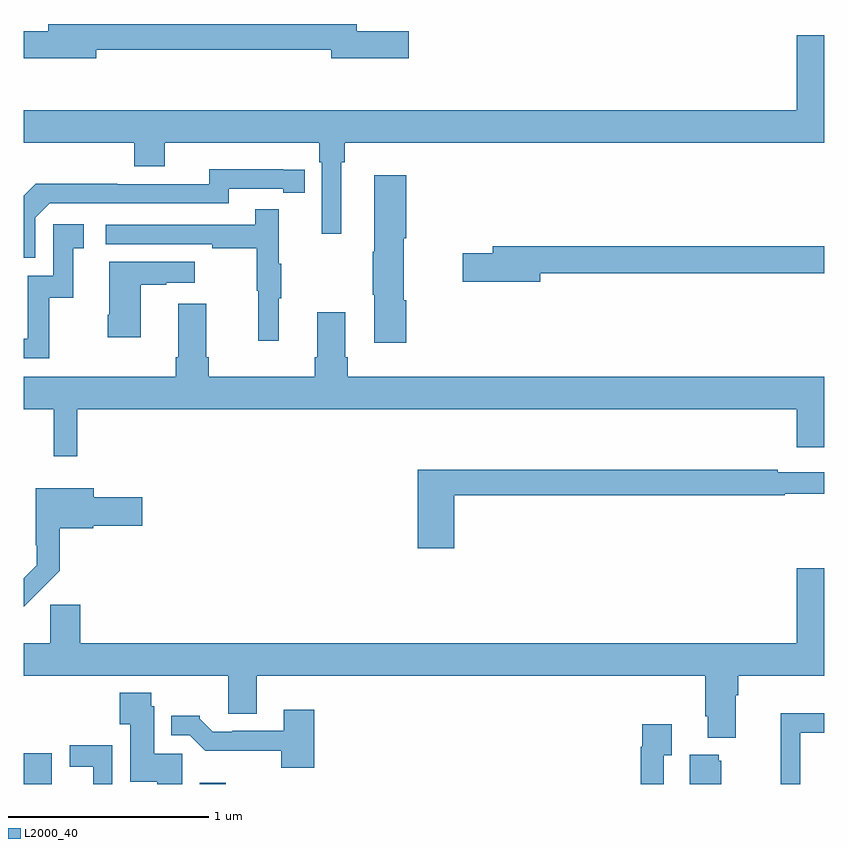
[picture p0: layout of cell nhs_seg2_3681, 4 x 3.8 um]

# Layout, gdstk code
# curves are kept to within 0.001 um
import gdstk
lib = gdstk.Library(unit=1e-6, precision=1e-09)
def R(c, l, rs):  # rectangles x0, y0, x1, y1
    for r in rs: c.add(gdstk.rectangle(r[:2], r[2:], *l))
def P(c, l, *ps):  # polygons
    for p in ps: c.add(gdstk.Polygon(p, *l))
L2000_40 = (2000, 40)

nhs_seg2_3681 = lib.new_cell('nhs_seg2_3681')
R(nhs_seg2_3681, L2000_40, [(305,609.8,305.14,609.953), (305.879,609.8,306.01,609.805)])
P(nhs_seg2_3681, L2000_40, [(305.362,613.47),(306.536,613.47),(306.536,613.427),(306.925,613.427),(306.925,613.562),(306.664,613.562),(306.664,613.598),(305.123,613.598),(305.123,613.562),(305,613.562),(305,613.427),(305.362,613.427)],
  [(306.586,612.908),(306.605,612.908),(306.605,613.004),(309,613.004),(309,613.543),(308.864,613.543),(308.864,613.168),(305,613.168),(305,613.004),(305.552,613.004),(305.552,612.887),(305.704,612.887),(305.704,613.004),(306.476,613.004),(306.476,612.908),(306.489,612.908),(306.489,612.549),(306.586,612.549)],
  [(305.058,612.63),(305.13,612.702),(306.024,612.702),(306.024,612.774),(306.296,612.774),(306.296,612.754),(306.404,612.754),(306.404,612.87),(305.928,612.871),(305.928,612.798),(305.468,612.798),(305.468,612.8),(305.06,612.8),(305,612.74),(305,612.429),(305.058,612.429)],
  [(306.911,612.218),(306.898,612.218),(306.898,612.528),(306.911,612.528),(306.911,612.841),(306.752,612.841),(306.752,612.461),(306.745,612.461),(306.745,612.244),(306.752,612.244),(306.752,612.006),(306.911,612.006)],
  [(306.275,612.227),(306.286,612.227),(306.286,612.401),(306.275,612.401),(306.275,612.673),(306.157,612.673),(306.157,612.594),(305.409,612.594),(305.409,612.498),(305.941,612.498),(305.941,612.478),(306.165,612.478),(306.165,612.264),(306.172,612.264),(306.172,612.015),(306.275,612.015)],
  [(305.128,612.231),(305.246,612.231),(305.246,612.477),(305.299,612.477),(305.299,612.598),(305.148,612.598),(305.148,612.339),(305.019,612.339),(305.019,612.024),(305,612.024),(305,611.928),(305.128,611.928)],
  [(307.582,612.352),(309,612.352),(309,612.488),(307.343,612.488),(307.343,612.452),(307.194,612.452),(307.194,612.31),(307.582,612.31)],
  [(305.584,612.295),(305.711,612.295),(305.711,612.305),(305.854,612.305),(305.854,612.409),(305.426,612.409),(305.426,612.145),(305.419,612.145),(305.419,612.033),(305.584,612.033)],
  [(305.267,611.672),(308.864,611.672),(308.864,611.484),(309,611.484),(309,611.836),(306.62,611.836),(306.62,611.932),(306.607,611.932),(306.607,612.157),(306.467,612.157),(306.467,611.932),(306.455,611.932),(306.455,611.836),(305.924,611.836),(305.924,611.932),(305.911,611.932),(305.911,612.199),(305.771,612.199),(305.771,611.932),(305.759,611.932),(305.759,611.836),(305,611.836),(305,611.672),(305.15,611.672),(305.15,611.439),(305.267,611.439)],
  [(307.151,611.242),(308.804,611.242),(308.804,611.25),(309,611.25),(309,611.358),(308.768,611.358),(308.768,611.371),(306.968,611.371),(306.968,610.977),(307.151,610.977)],
  [(305.18,610.865),(305.18,611.077),(305.346,611.077),(305.346,611.09),(305.593,611.09),(305.593,611.232),(305.35,611.232),(305.35,611.278),(305.061,611.278),(305.061,610.993),(305.064,610.993),(305.064,610.893),(305,610.829),(305,610.686)],
  [(308.557,610.244),(308.57,610.244),(308.57,610.34),(309,610.34),(309,610.879),(308.864,610.879),(308.864,610.504),(305.282,610.504),(305.282,610.695),(305.131,610.695),(305.131,610.504),(305,610.504),(305,610.34),(306.023,610.34),(306.023,610.15),(306.163,610.15),(306.163,610.34),(308.405,610.34),(308.405,610.138),(308.417,610.138),(308.417,610.031),(308.557,610.031)],
  [(305.791,609.951),(305.653,609.951),(305.653,610.188),(305.637,610.188),(305.637,610.255),(305.48,610.255),(305.48,610.099),(305.531,610.099),(305.531,609.812),(305.666,609.812),(305.666,609.8),(305.791,609.8)],
  [(306.452,610.171),(306.299,610.171),(306.299,610.065),(306.043,610.065),(306.043,610.062),(305.944,610.062),(305.88,610.126),(305.88,610.141),(305.738,610.141),(305.738,610.044),(305.829,610.044),(305.908,609.966),(306.287,609.966),(306.287,609.881),(306.452,609.881)],
  [(308.88,610.056),(309,610.056),(309,610.154),(308.782,610.154),(308.782,609.847),(308.784,609.847),(308.784,609.8),(308.88,609.8)],
  [(308.199,609.943),(308.239,609.943),(308.239,610.099),(308.091,610.099),(308.091,609.986),(308.083,609.986),(308.083,609.8),(308.199,609.8)],
  [(305.442,609.994),(305.229,609.994),(305.229,609.885),(305.346,609.885),(305.346,609.8),(305.442,609.8)],
  [(308.485,609.915),(308.474,609.915),(308.474,609.946),(308.327,609.946),(308.327,609.8),(308.485,609.8)])

lib.write_gds('nhs_seg2_3681.gds')
